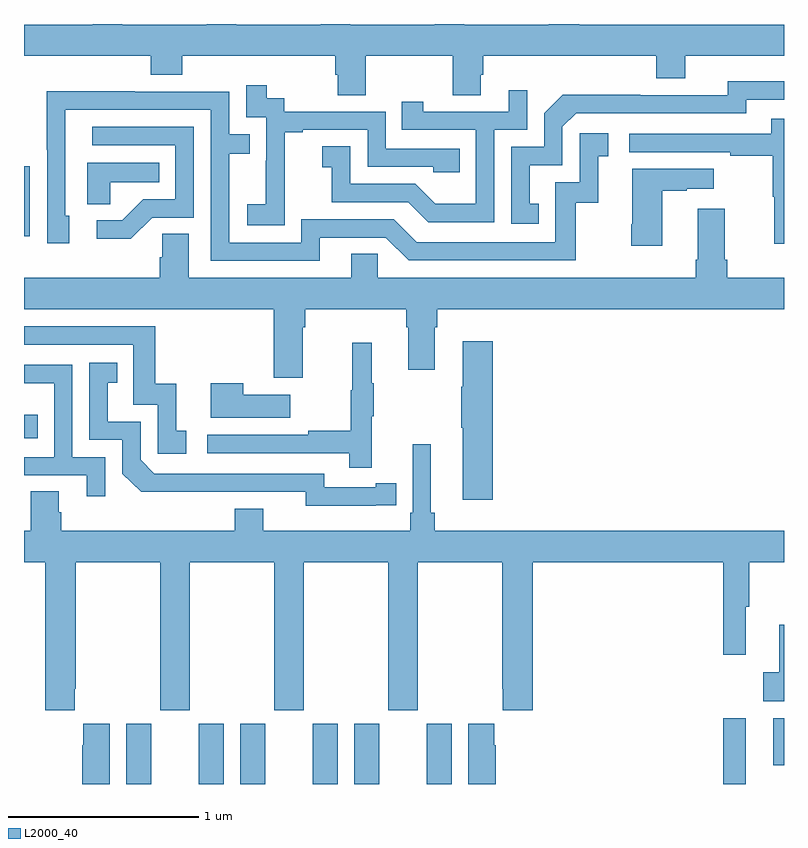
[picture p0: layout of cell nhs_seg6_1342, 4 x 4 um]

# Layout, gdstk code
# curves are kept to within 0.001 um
import gdstk
lib = gdstk.Library(unit=1e-6, precision=1e-09)
def R(c, l, rs):  # rectangles x0, y0, x1, y1
    for r in rs: c.add(gdstk.rectangle(r[:2], r[2:], *l))
def P(c, l, *ps):  # polygons
    for p in ps: c.add(gdstk.Polygon(p, *l))
L2000_40 = (2000, 40)

nhs_seg6_1342 = lib.new_cell('nhs_seg6_1342')
R(nhs_seg6_1342, L2000_40, [(193.538,947.5,193.669,947.818), (193.919,947.5,194.05,947.818), (194.138,947.5,194.269,947.818), (194.519,947.5,194.65,947.818), (194.738,947.5,194.869,947.818), (195.119,947.5,195.25,947.818), (196.681,947.5,196.798,947.845), (196.943,947.6,197,947.845), (193,949.32,193.073,949.443), (193,950.382,193.029,950.752)])
P(nhs_seg6_1342, L2000_40, [(194.799,951.332),(195.256,951.332),(195.256,951.124),(195.403,951.124),(195.403,951.234),(195.416,951.234),(195.416,951.332),(196.328,951.332),(196.328,951.215),(196.48,951.215),(196.48,951.332),(197,951.332),(197,951.496),(195.923,951.496),(195.923,951.5),(195.763,951.5),(195.763,951.496),(195.318,951.496),(195.318,951.5),(195.163,951.5),(195.163,951.496),(194.718,951.496),(194.718,951.5),(194.563,951.5),(194.563,951.496),(194.118,951.496),(194.118,951.5),(193.963,951.5),(193.963,951.496),(193.518,951.496),(193.518,951.5),(193.363,951.5),(193.363,951.496),(193,951.496),(193,951.332),(193.667,951.332),(193.667,951.233),(193.832,951.233),(193.832,951.332),(194.639,951.332),(194.639,951.234),(194.651,951.234),(194.651,951.124),(194.799,951.124)],
  [(195.71,950.553),(195.661,950.553),(195.661,950.757),(195.834,950.757),(195.834,950.958),(195.906,951.03),(196.8,951.03),(196.8,951.102),(197,951.102),(197,951.199),(196.704,951.199),(196.704,951.126),(196.244,951.126),(196.244,951.128),(195.836,951.128),(195.738,951.03),(195.738,950.853),(195.564,950.853),(195.564,950.448),(195.71,950.448)],
  [(194.373,950.647),(194.372,950.647),(194.372,950.931),(194.467,950.931),(194.467,950.943),(194.808,950.943),(194.808,950.748),(195.153,950.748),(195.153,950.721),(195.293,950.721),(195.293,950.844),(194.904,950.844),(194.904,951.039),(194.37,951.039),(194.37,951.108),(194.278,951.108),(194.278,951.178),(194.169,951.178),(194.169,951.009),(194.274,951.009),(194.274,950.78),(194.273,950.78),(194.273,950.551),(194.175,950.551),(194.175,950.441),(194.373,950.441)],
  [(195.474,950.943),(195.648,950.943),(195.648,951.151),(195.551,951.151),(195.551,951.039),(195.1,951.039),(195.1,951.091),(194.989,951.091),(194.989,950.943),(195.378,950.943),(195.378,950.554),(195.164,950.554),(195.06,950.658),(194.718,950.658),(194.718,950.857),(194.571,950.857),(194.571,950.747),(194.62,950.747),(194.62,950.562),(195.023,950.562),(195.128,950.457),(195.474,950.457)],
  [(194.557,950.376),(194.904,950.376),(195.024,950.256),(195.904,950.256),(195.904,950.559),(196.022,950.559),(196.022,950.805),(196.075,950.805),(196.075,950.926),(195.924,950.926),(195.924,950.667),(195.795,950.667),(195.795,950.352),(195.066,950.352),(194.946,950.472),(194.46,950.472),(194.46,950.349),(194.079,950.349),(194.079,950.818),(194.189,950.818),(194.189,950.919),(194.079,950.919),(194.079,951.144),(193.583,951.144),(193.583,951.146),(193.12,951.146),(193.12,950.839),(193.122,950.839),(193.122,950.346),(193.237,950.346),(193.237,950.49),(193.218,950.49),(193.218,951.048),(193.983,951.048),(193.983,950.253),(194.557,950.253)],
  [(197,951.001),(196.933,951.001),(196.933,950.922),(196.185,950.922),(196.185,950.826),(196.717,950.826),(196.717,950.806),(196.941,950.806),(196.941,950.592),(196.948,950.592),(196.948,950.343),(197,950.343)],
  [(193.674,950.481),(193.893,950.481),(193.893,950.958),(193.359,950.958),(193.359,950.862),(193.797,950.862),(193.797,950.577),(193.628,950.577),(193.517,950.466),(193.383,950.466),(193.383,950.369),(193.561,950.369)],
  [(193.455,950.666),(193.712,950.666),(193.712,950.77),(193.334,950.77),(193.334,950.551),(193.455,950.551)],
  [(196.36,950.623),(196.487,950.623),(196.487,950.633),(196.63,950.633),(196.63,950.737),(196.202,950.737),(196.202,950.446),(196.195,950.446),(196.195,950.334),(196.36,950.334)],
  [(194.467,949.904),(194.48,949.904),(194.48,950),(195.011,950),(195.011,949.904),(195.023,949.904),(195.023,949.68),(195.163,949.68),(195.163,949.904),(195.176,949.904),(195.176,950),(197,950),(197,950.164),(196.7,950.164),(196.7,950.26),(196.687,950.26),(196.687,950.527),(196.547,950.527),(196.547,950.26),(196.535,950.26),(196.535,950.164),(194.862,950.164),(194.862,950.291),(194.723,950.291),(194.723,950.164),(193.867,950.164),(193.867,950.396),(193.728,950.396),(193.728,950.273),(193.715,950.273),(193.715,950.164),(193,950.164),(193,950),(194.315,950),(194.315,949.638),(194.467,949.638)],
  [(193.855,949.359),(193.802,949.359),(193.802,949.606),(193.691,949.606),(193.691,949.908),(193,949.908),(193,949.812),(193.575,949.812),(193.575,949.497),(193.704,949.497),(193.704,949.239),(193.855,949.239)],
  [(195.467,949.831),(195.308,949.831),(195.308,949.592),(195.301,949.592),(195.301,949.375),(195.308,949.375),(195.308,948.996),(195.467,948.996)],
  [(194.831,949.435),(194.842,949.435),(194.842,949.609),(194.831,949.609),(194.831,949.822),(194.728,949.822),(194.728,949.572),(194.721,949.572),(194.721,949.358),(194.497,949.358),(194.497,949.338),(193.965,949.338),(193.965,949.242),(194.713,949.242),(194.713,949.164),(194.831,949.164)],
  [(194.852,948.966),(194.96,948.966),(194.96,949.082),(194.852,949.082),(194.852,949.062),(194.58,949.062),(194.58,949.134),(193.686,949.134),(193.614,949.206),(193.614,949.407),(193.441,949.407),(193.441,949.611),(193.49,949.611),(193.49,949.717),(193.344,949.717),(193.344,949.311),(193.518,949.311),(193.518,949.134),(193.616,949.037),(194.484,949.038),(194.484,948.965)],
  [(193.428,949.221),(193.254,949.221),(193.254,949.707),(193,949.707),(193,949.61),(193.158,949.61),(193.158,949.221),(193,949.221),(193,949.125),(193.331,949.125),(193.331,949.014),(193.428,949.014)],
  [(194.401,949.549),(194.153,949.549),(194.153,949.609),(193.982,949.609),(193.982,949.427),(194.401,949.427)],
  [(195.072,948.668),(195.517,948.668),(195.517,948.001),(195.521,948.001),(195.521,947.889),(195.677,947.889),(195.677,948.668),(196.681,948.668),(196.681,948.18),(196.799,948.18),(196.799,948.432),(196.817,948.432),(196.817,948.668),(197,948.668),(197,948.832),(195.161,948.832),(195.161,948.928),(195.142,948.928),(195.142,949.288),(195.045,949.288),(195.045,948.928),(195.032,948.928),(195.032,948.832),(194.26,948.832),(194.26,948.949),(194.108,948.949),(194.108,948.832),(193.196,948.832),(193.196,948.93),(193.183,948.93),(193.183,949.04),(193.036,949.04),(193.036,948.832),(193,948.832),(193,948.668),(193.112,948.668),(193.112,947.889),(193.267,947.889),(193.267,948.001),(193.272,948.001),(193.272,948.668),(193.717,948.668),(193.717,947.889),(193.872,947.889),(193.872,948.668),(194.317,948.668),(194.317,947.889),(194.472,947.889),(194.472,948.668),(194.917,948.668),(194.917,947.889),(195.072,947.889)],
  [(197,948.337),(196.976,948.337),(196.976,948.089),(196.89,948.089),(196.89,947.936),(197,947.936)],
  [(195.482,947.705),(195.475,947.705),(195.475,947.818),(195.338,947.818),(195.338,947.5),(195.482,947.5)],
  [(193.313,947.818),(193.313,947.705),(193.307,947.705),(193.307,947.5),(193.45,947.5),(193.45,947.818)])

lib.write_gds('nhs_seg6_1342.gds')
